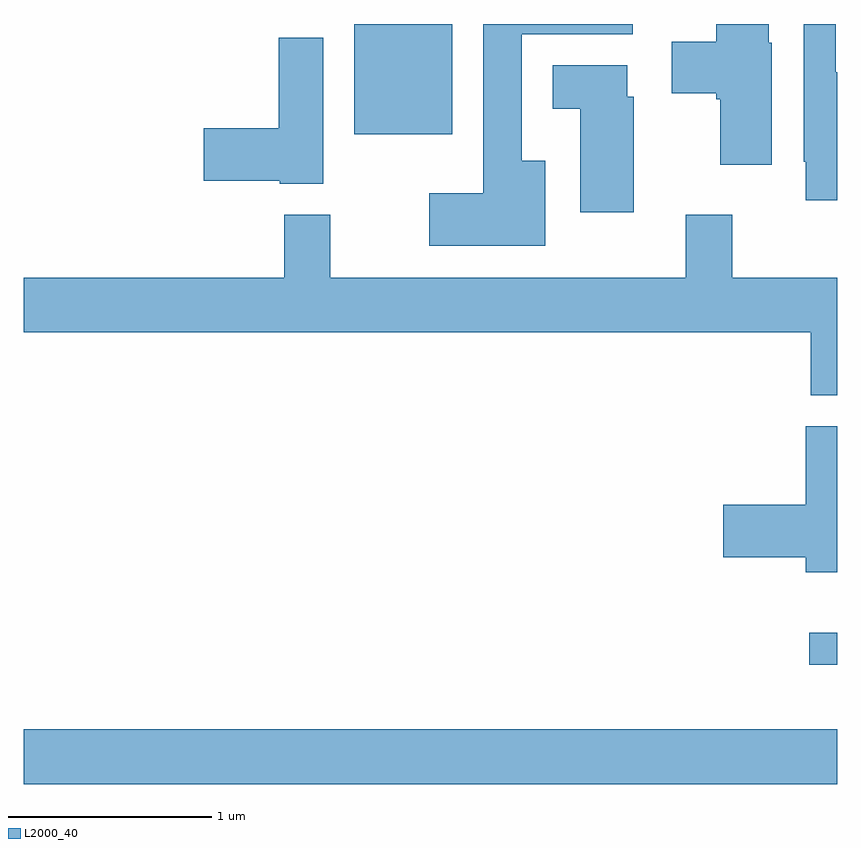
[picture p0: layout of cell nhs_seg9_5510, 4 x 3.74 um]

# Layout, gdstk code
import gdstk
lib = gdstk.Library(unit=1e-6, precision=1e-09)
def R(c, l, rs):  # rectangles x0, y0, x1, y1
    for r in rs: c.add(gdstk.rectangle(r[:2], r[2:], *l))
def P(c, l, *ps):  # polygons
    for p in ps: c.add(gdstk.Polygon(p, *l))
L2000_40 = (2000, 40)

nhs_seg9_5510 = lib.new_cell('nhs_seg9_5510')
R(nhs_seg9_5510, L2000_40, [(347.611,2000.696,351.611,2000.964), (351.473,2001.281,351.611,2001.439), (349.236,2003.891,349.719,2004.432)])
P(nhs_seg9_5510, L2000_40, [(351.611,2004.194),(351.604,2004.194),(351.604,2004.432),(351.446,2004.432),(351.446,2003.755),(351.456,2003.755),(351.456,2003.566),(351.611,2003.566)],
  [(350.174,2003.759),(350.059,2003.759),(350.059,2004.381),(350.604,2004.381),(350.604,2004.432),(349.871,2004.432),(349.871,2003.599),(349.606,2003.599),(349.606,2003.341),(350.174,2003.341)],
  [(351.289,2004.34),(351.274,2004.34),(351.274,2004.432),(351.016,2004.432),(351.016,2004.344),(350.796,2004.344),(350.796,2004.091),(351.016,2004.091),(351.016,2004.061),(351.036,2004.061),(351.036,2003.741),(351.289,2003.741)],
  [(349.084,2004.364),(348.866,2004.364),(348.866,2003.919),(348.496,2003.919),(348.496,2003.661),(348.87,2003.661),(348.87,2003.646),(349.084,2003.646)],
  [(350.609,2004.074),(350.579,2004.074),(350.579,2004.229),(350.211,2004.229),(350.211,2004.016),(350.346,2004.016),(350.346,2003.506),(350.609,2003.506)],
  [(351.611,2003.184),(351.094,2003.184),(351.094,2003.494),(350.866,2003.494),(350.866,2003.184),(349.119,2003.184),(349.119,2003.494),(348.891,2003.494),(348.891,2003.184),(347.611,2003.184),(347.611,2002.916),(351.481,2002.916),(351.481,2002.606),(351.611,2002.606)],
  [(351.611,2002.454),(351.456,2002.454),(351.456,2002.069),(351.051,2002.069),(351.051,2001.811),(351.456,2001.811),(351.456,2001.736),(351.611,2001.736)])

lib.write_gds('nhs_seg9_5510.gds')
